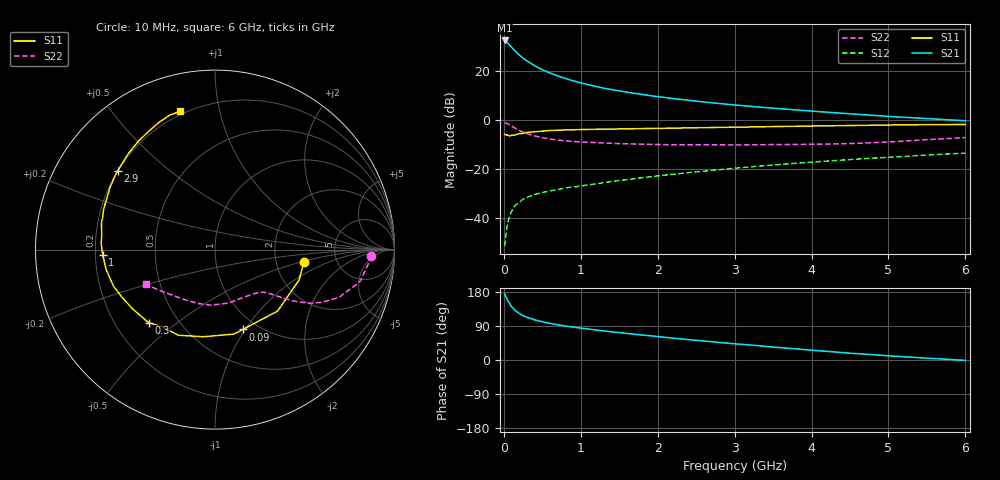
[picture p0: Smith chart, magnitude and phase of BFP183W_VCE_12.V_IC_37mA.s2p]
! Infineon Technologies  Discrete & RF Semiconductors
! BFP183W
! VCE =  12. V,  IC =  37 mA
! Common Emitter S-Parameters:  Jan 2017
# GHz  S  MA  R  50
!  f  S11  S21  S12  S22
! GHz  MAG  ANG  MAG  ANG  MAG  ANG  MAG  ANG
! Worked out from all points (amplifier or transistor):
!   77 points, 10 MHz to 6 GHz, reference 50 ohm
!   highest |S21| = 32.3 dB at 10 MHz (marker M1)
!   |S21| within 3 dB of that: start of sweep to 107.7 MHz
!   unconditionally stable (mu >= 1): start of sweep to 16.96 MHz; 1.073 GHz to 3.974 GHz
!   at 130 MHz: K = 0.48, MSG = 32.3 dB, |S12| = -35.9 dB
!   at 2.2 GHz: K = 1.13, MAG = 13.3 dB, |S12| = -22.3 dB
!   at 6 GHz: K = 0.86, MSG = 6.6 dB, |S12| = -13.7 dB
!   S11 on the Smith chart (normalised r, x): 10 MHz: 2.89, -0.54; 90 MHz: 0.85, -0.98; 300 MHz: 0.34, -0.40; 1 GHz: 0.23, -0.02; 2.9 GHz: 0.20, +0.34; 6 GHz: 0.18, +0.76
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0.01  0.5004 -8.0  41.41 174.7  0.0026 30.1  0.8708 -2.2
0.02  0.4982 -20.0  40.41 169.5  0.0033 61.7  0.8594 -5.1
0.05  0.4887 -44.5  36.84 156.6  0.0079 60.4  0.8267 -12.5
0.09  0.4711 -70.8  31.29 144.3  0.0122 61.5  0.7568 -19.1
0.1  0.4825 -77.3  30.18 140.6  0.0133 61.7  0.7411 -21.0
0.15  0.4903 -97.9  24.9 130.3  0.0179 54.8  0.6648 -26.2
0.2  0.5193 -113.3  21.03 122.9  0.0203 53.4  0.6035 -29.7
0.25  0.5208 -124.3  18.01 117.1  0.0237 49.6  0.5573 -31.6
0.3  0.5502 -132.3  15.82 112.8  0.0257 49.1  0.518 -33.4
0.4  0.5661 -144.3  12.63 105.9  0.0297 47.9  0.4642 -35.5
0.5  0.5827 -153.1  10.46 100.9  0.0324 47.1  0.428 -37.0
0.6  0.6005 -160.0  8.96 96.7  0.035 46.7  0.4003 -38.3
0.7  0.6077 -165.4  7.789 93.0  0.0371 47.2  0.3835 -39.3
1  0.6263 -177.4  5.635 84.1  0.0441 50.1  0.3489 -42.9
1.1  0.6305 179.4  5.171 81.7  0.0465 51.4  0.3445 -44.1
1.5  0.645 168.7  3.864 72.3  0.0572 54.0  0.3226 -50.2
2.1  0.6655 155.5  2.822 59.8  0.0737 56.8  0.308 -61.7
2.9  0.6969 141.1  2.06 44.6  0.0982 56.7  0.3052 -80.2
3.1  0.7035 137.9  1.932 41.2  0.1048 56.2  0.305 -85.1
4.1  0.7433 123.5  1.457 24.4  0.1386 52.6  0.3152 -110.0
5.1  0.7778 112.6  1.14 9.8  0.1739 47.4  0.3567 -136.3
6  0.7948 104.3  0.948 -1.0  0.2073 41.6  0.4296 -153.3
